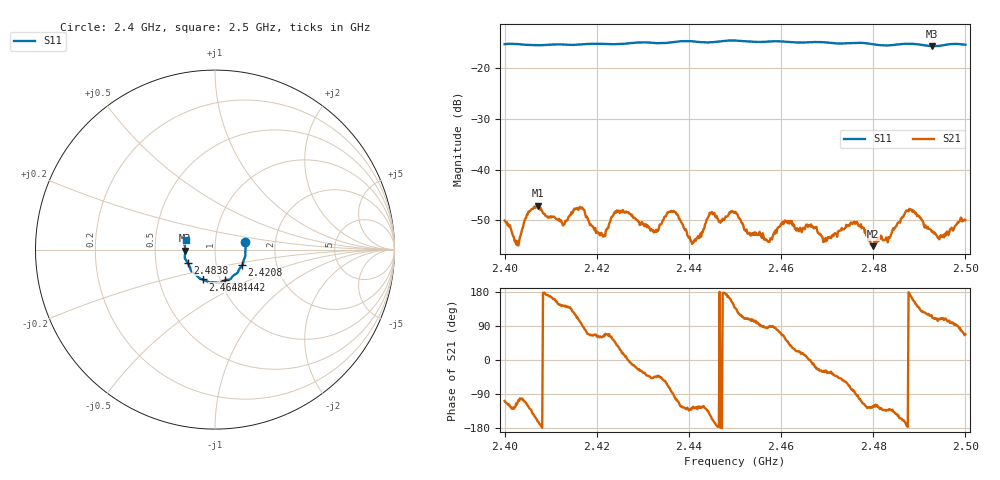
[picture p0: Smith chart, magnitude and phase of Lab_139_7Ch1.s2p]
# Hz S RI R 50
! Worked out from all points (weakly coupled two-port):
!   601 points, 2.4 GHz to 2.5 GHz, reference 50 ohm
!   highest |S21| = -47.11 dB at 2.4072 GHz (marker M1); lowest = -55.1 dB at 2.48 GHz (marker M2)
!   lowest |S11| = -15.6 dB at 2.4928 GHz (marker M3), VSWR 1.40, Z = 35.8 - j0.372 ohm
!   |S11| at or under -10 dB: start of sweep to end of sweep
!   S12 and S22 are empty: the file has one direction only
!   S11 on the Smith chart (normalised r, x): 2.4 GHz: 1.40, +0.12; 2.4208 GHz: 1.33, -0.24; 2.4442 GHz: 1.05, -0.37; 2.4648 GHz: 0.83, -0.28; 2.4838 GHz: 0.73, -0.11; 2.5 GHz: 0.72, +0.08
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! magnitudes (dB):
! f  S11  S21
! 2.4 GHz  -15.2  -50.0
! 2.4027 GHz  -15.2  -54.0
! 2.4072 GHz  -15.4  -47.1
! 2.4128 GHz  -15.3  -50.7
! 2.4167 GHz  -15.3  -47.6
! 2.4208 GHz  -15.2  -52.5
! 2.4248 GHz  -15.2  -48.1
! 2.4333 GHz  -15.0  -52.0
! 2.4367 GHz  -14.8  -48.1
! 2.441 GHz  -14.7  -54.4
! 2.4442 GHz  -14.9  -49.4
! 2.45 GHz  -14.5  -48.3
! 2.457 GHz  -14.7  -54.0
! 2.4648 GHz  -14.9  -51.4
! 2.4667 GHz  -14.8  -51.2
! 2.4762 GHz  -15.0  -50.6
! 2.48 GHz  -15.3  -55.1
! 2.4833 GHz  -15.5  -53.3
! 2.4838 GHz  -15.4  -52.9
! 2.4878 GHz  -15.2  -47.7
! 2.4928 GHz  -15.6  -52.3
! 2.5 GHz  -15.3  -49.9
